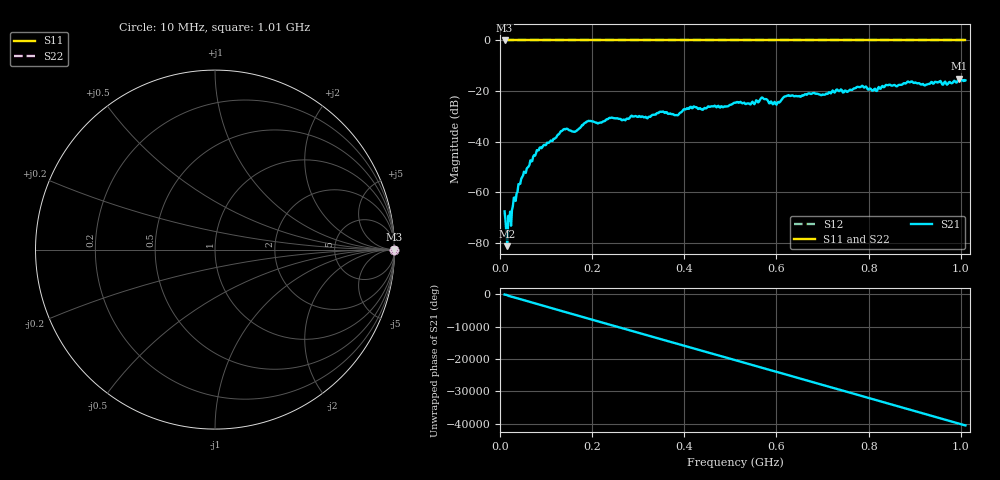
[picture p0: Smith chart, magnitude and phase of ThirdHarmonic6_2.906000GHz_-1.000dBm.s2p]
! 8/17/2025 8:02:46 AM
! C:\ANRITSUVNA\TEMP\TEMP.S2P
! CHANNEL.1
! TR.MEASUREMENT
! RAW.DATA
! RF.CORRECTION.OFF
! AVERAGING.OFF
! IF.BANDWIDTH: 5KHZ
! SWEEPTYPE:  FREQ.SWEEP(Linear)
! Reference Plane Port Info
! PORT:  PORT1  PORT2
! DISTANCE:  0  m  0  m
! TIME:  0  s  0  s
! PHASE.OFFSET:  0  deg.  0  deg.
! LOSS:  0  dB  0  dB
! REF.LOSS:  0  dB  0  dB
! REF.FREQ:  0  Hz  0  Hz
! Power Info
! POWER:  -20  dBm  -20  dBm
! EFF.POWER:  -20  dBm  -20  dBm
! SOURCE.ATTEN:  0  dB  0  dB
! TEST.ATTEN:  0  dB  0  dB
# GHZ S RI R 50.0
! FREQ.GHZ  S11RE  S11IM  S21RE  S21IM  S12RE  S12IM  S22RE  S22IM
!; PortSelection: Port_12
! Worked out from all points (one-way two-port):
!   501 points, 10 MHz to 1.01 GHz, reference 50 ohm
!   highest |S21| = -15.07 dB at 996 MHz (marker M1); lowest = -81.3 dB at 16 MHz (marker M2)
!   lowest |S11| = 0.0 dB at 10 MHz (marker M3)
!   |S11| at or under -10 dB: nowhere
!   |S22| runs from 0.0 to 0.0 dB; largest |S21 - S12| = 1.2
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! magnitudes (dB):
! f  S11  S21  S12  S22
! 10 MHz  0.0  -67.6  0.0  0.0
! 16 MHz  0.0  -81.3  0.0  0.0
! 44 MHz  0.0  -56.6  0.0  0.0
! 82 MHz  0.0  -43.4  0.0  0.0
! 136 MHz  0.0  -35.5  0.0  0.0
! 162 MHz  0.0  -36.1  0.0  0.0
! 178 MHz  0.0  -33.5  0.0  0.0
! 192 MHz  0.0  -31.8  0.0  0.0
! 322 MHz  0.0  -30.3  0.0  0.0
! 344 MHz  0.0  -28.7  0.0  0.0
! 382 MHz  0.0  -29.5  0.0  0.0
! 416 MHz  0.0  -26.7  0.0  0.0
! 510 MHz  0.0  -24.6  0.0  0.0
! 570 MHz  0.0  -22.6  0.0  0.0
! 596 MHz  0.0  -24.3  0.0  0.0
! 622 MHz  0.0  -21.9  0.0  0.0
! 678 MHz  0.0  -20.9  0.0  0.0
! 784 MHz  0.0  -18.2  0.0  0.0
! 814 MHz  0.0  -19.1  0.0  0.0
! 844 MHz  0.0  -17.5  0.0  0.0
! 996 MHz  0.0  -15.1  0.0  0.0
! 1.01 GHz  0.0  -15.8  0.0  0.0
